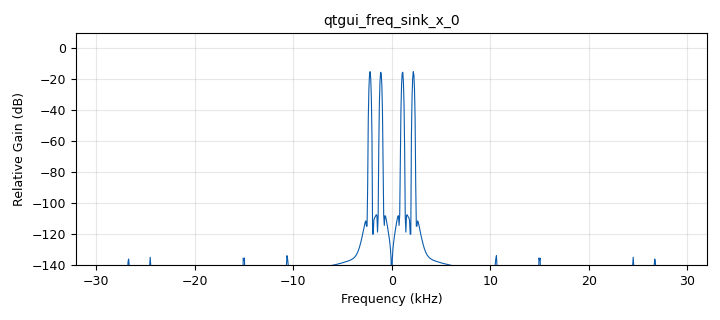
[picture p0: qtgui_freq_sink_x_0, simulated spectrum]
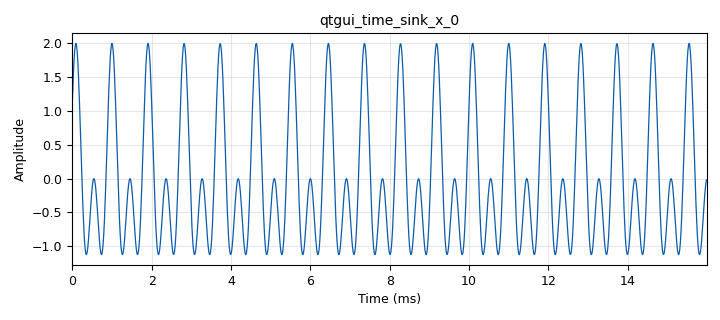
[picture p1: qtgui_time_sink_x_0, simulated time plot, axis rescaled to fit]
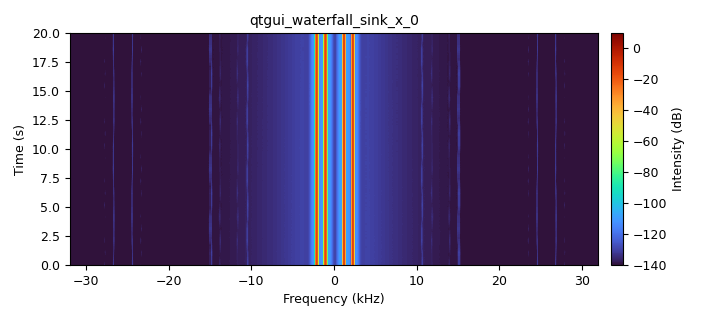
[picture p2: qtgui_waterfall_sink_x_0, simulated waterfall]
<?xml version='1.0' encoding='utf-8'?>
<?grc format='1' created='3.7.13'?>
<flow_graph>
<block>
<key>options</key>
<param><key>id</key><value>top_block</value></param>
<param><key>generate_options</key><value>qt_gui</value></param>
</block>
<block>
<key>variable</key>
<param><key>id</key><value>samp_rate</value></param>
<param><key>value</key><value>64000</value></param>
</block>
<block>
<key>analog_sig_source_x</key>
<param><key>id</key><value>analog_sig_source_x_0</value></param>
<param><key>amp</key><value>1</value></param>
<param><key>freq</key><value>1100</value></param>
<param><key>offset</key><value>0</value></param>
<param><key>type</key><value>float</value></param>
<param><key>samp_rate</key><value>samp_rate</value></param>
<param><key>waveform</key><value>analog.GR_COS_WAVE</value></param>
</block>
<block>
<key>analog_sig_source_x</key>
<param><key>id</key><value>analog_sig_source_x_0_0</value></param>
<param><key>amp</key><value>1</value></param>
<param><key>freq</key><value>2200</value></param>
<param><key>offset</key><value>0</value></param>
<param><key>type</key><value>float</value></param>
<param><key>samp_rate</key><value>samp_rate</value></param>
<param><key>waveform</key><value>analog.GR_COS_WAVE</value></param>
</block>
<block>
<key>audio_sink</key>
<param><key>id</key><value>audio_sink_0</value></param>
<param><key>samp_rate</key><value>samp_rate</value></param>
</block>
<block>
<key>blocks_add_xx</key>
<param><key>id</key><value>blocks_add_xx_0</value></param>
<param><key>type</key><value>float</value></param>
</block>
<block>
<key>blocks_throttle</key>
<param><key>id</key><value>blocks_throttle_0</value></param>
<param><key>samples_per_second</key><value>samp_rate</value></param>
<param><key>type</key><value>float</value></param>
</block>
<block>
<key>qtgui_freq_sink_x</key>
<param><key>id</key><value>qtgui_freq_sink_x_0</value></param>
<param><key>bw</key><value>samp_rate</value></param>
<param><key>fc</key><value>0</value></param>
<param><key>fftsize</key><value>1024</value></param>
<param><key>showports</key><value>True</value></param>
<param><key>type</key><value>float</value></param>
<param><key>wintype</key><value>firdes.WIN_BLACKMAN_hARRIS</value></param>
</block>
<block>
<key>qtgui_time_sink_x</key>
<param><key>id</key><value>qtgui_time_sink_x_0</value></param>
<param><key>color1</key><value>"blue"</value></param>
<param><key>label1</key><value></value></param>
<param><key>size</key><value>1024</value></param>
<param><key>srate</key><value>samp_rate</value></param>
<param><key>type</key><value>float</value></param>
</block>
<block>
<key>qtgui_waterfall_sink_x</key>
<param><key>id</key><value>qtgui_waterfall_sink_x_0</value></param>
<param><key>bw</key><value>samp_rate</value></param>
<param><key>fc</key><value>0</value></param>
<param><key>fftsize</key><value>1024</value></param>
<param><key>showports</key><value>True</value></param>
<param><key>type</key><value>float</value></param>
<param><key>wintype</key><value>firdes.WIN_BLACKMAN_hARRIS</value></param>
</block>
<connection><source_block_id>analog_sig_source_x_0</source_block_id><sink_block_id>blocks_add_xx_0</sink_block_id><source_key>0</source_key><sink_key>0</sink_key></connection>
<connection><source_block_id>analog_sig_source_x_0_0</source_block_id><sink_block_id>blocks_add_xx_0</sink_block_id><source_key>0</source_key><sink_key>1</sink_key></connection>
<connection><source_block_id>blocks_add_xx_0</source_block_id><sink_block_id>blocks_throttle_0</sink_block_id><source_key>0</source_key><sink_key>0</sink_key></connection>
<connection><source_block_id>blocks_throttle_0</source_block_id><sink_block_id>audio_sink_0</sink_block_id><source_key>0</source_key><sink_key>0</sink_key></connection>
<connection><source_block_id>blocks_throttle_0</source_block_id><sink_block_id>qtgui_freq_sink_x_0</sink_block_id><source_key>0</source_key><sink_key>0</sink_key></connection>
<connection><source_block_id>blocks_throttle_0</source_block_id><sink_block_id>qtgui_time_sink_x_0</sink_block_id><source_key>0</source_key><sink_key>0</sink_key></connection>
<connection><source_block_id>blocks_throttle_0</source_block_id><sink_block_id>qtgui_waterfall_sink_x_0</sink_block_id><source_key>0</source_key><sink_key>0</sink_key></connection>
</flow_graph>
